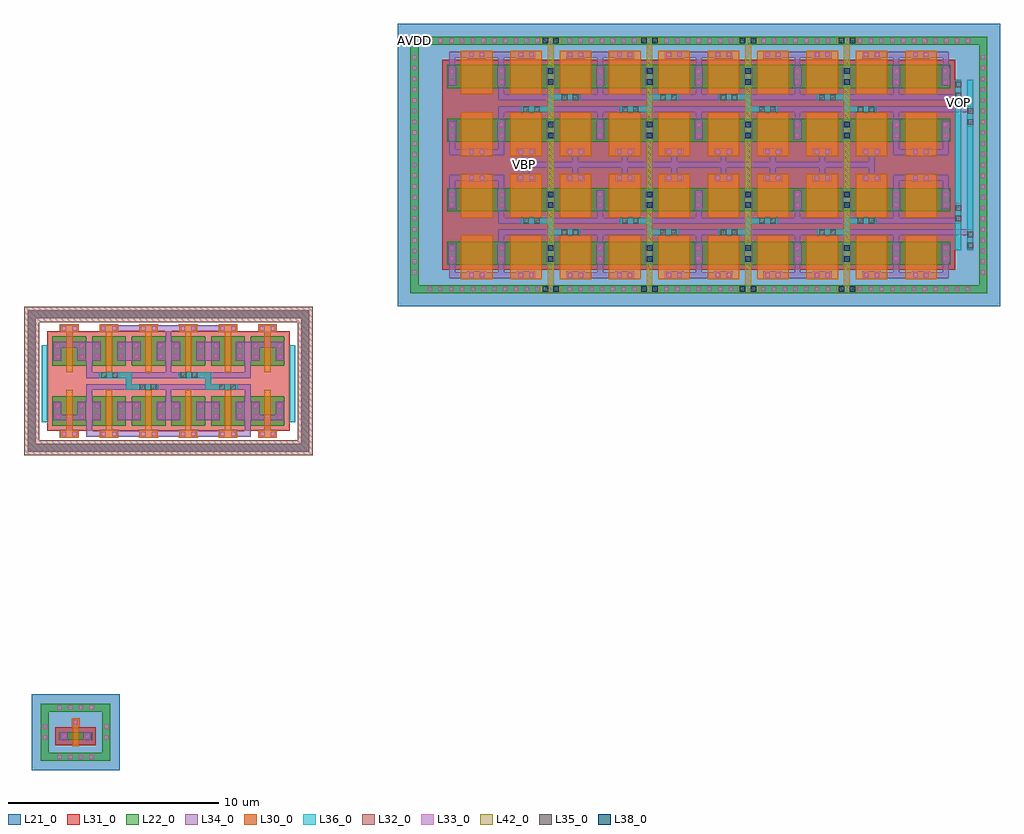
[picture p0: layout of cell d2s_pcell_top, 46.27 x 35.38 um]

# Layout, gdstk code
from math import pi, radians
import gdstk
lib = gdstk.Library(unit=1e-6, precision=5e-09)
def R(c, l, rs):  # rectangles x0, y0, x1, y1
    for r in rs: c.add(gdstk.rectangle(r[:2], r[2:], *l))
def A(c, l, x, y, w, h, nx, ny, dx, dy):  # array of equal rectangles
    R(c, l, [(x+i*dx, y+j*dy, x+i*dx+w, y+j*dy+h) for i in range(nx) for j in range(ny)])
def P(c, l, *ps):  # polygons
    for p in ps: c.add(gdstk.Polygon(p, *l))
L21_0 = (21, 0)
L22_0 = (22, 0)
L30_0 = (30, 0)
L31_0 = (31, 0)
L32_0 = (32, 0)
L33_0 = (33, 0)
L34_0 = (34, 0)
L35_0 = (35, 0)
L36_0 = (36, 0)
L38_0 = (38, 0)
L42_0 = (42, 0)

d2s_pcell_1_1 = lib.new_cell('d2s_pcell_1$1')
R(d2s_pcell_1_1, L22_0, [(0,0.3,0.46,1.7), (0.46,0.3,1.14,1.7), (1.14,0.3,1.6,1.7)])
R(d2s_pcell_1_1, L30_0, [(0.65,0,0.95,2)])
R(d2s_pcell_1_1, L33_0, [(0.12,0.635,0.34,0.855), (1.26,0.635,1.48,0.855), (0.12,1.145,0.34,1.365), (1.26,1.145,1.48,1.365)])
R(d2s_pcell_1_1, L34_0, [(0.04,0.555,0.42,1.445), (1.18,0.555,1.56,1.445)])

d2s_pcell_4 = lib.new_cell('d2s_pcell_4')
A(d2s_pcell_4, L30_0, 0.365, 1.9, 0.87, 0.36, 6, 1, 1.88, 0)
R(d2s_pcell_4, L33_0, [(0.435,1.97,0.655,2.19), (0.945,1.97,1.165,2.19), (2.315,1.97,2.535,2.19), (2.825,1.97,3.045,2.19), (4.195,1.97,4.415,2.19), (4.705,1.97,4.925,2.19), (6.075,1.97,6.295,2.19), (6.585,1.97,6.805,2.19), (7.955,1.97,8.175,2.19), (8.465,1.97,8.685,2.19), (9.835,1.97,10.055,2.19), (10.345,1.97,10.565,2.19)])
A(d2s_pcell_4, L34_0, 1.56, 0.555, 0.36, 0.89, 5, 1, 1.88, 0)
A(d2s_pcell_4, L34_0, 0.355, 1.89, 0.89, 0.38, 6, 1, 1.88, 0)
d2s_pcell_4.add(gdstk.FlexPath([(10.2,1.89),(10.2,1.445)], 0.28, ends="flush", simple_path=True, layer=34, datatype=0))  # L34_0
d2s_pcell_4.add(gdstk.FlexPath([(9.82,1.305),(10.58,1.305)], 0.28, ends="flush", simple_path=True, layer=34, datatype=0))  # L34_0
d2s_pcell_4.add(gdstk.FlexPath([(0.8,1.89),(0.8,1.445)], 0.28, ends="flush", simple_path=True, layer=34, datatype=0))  # L34_0
d2s_pcell_4.add(gdstk.FlexPath([(1.18,1.305),(0.42,1.305)], 0.28, ends="flush", simple_path=True, layer=34, datatype=0))  # L34_0
d2s_pcell_4.add(gdstk.FlexPath([(7.875,2.08),(3.125,2.08)], 0.28, ends="flush", simple_path=True, layer=34, datatype=0))  # L34_0
d2s_pcell_4.add(gdstk.Reference(d2s_pcell_1_1, (1.88,0)))
d2s_pcell_4.add(gdstk.Reference(d2s_pcell_1_1, (3.76,0)))
d2s_pcell_4.add(gdstk.Reference(d2s_pcell_1_1, (5.64,0)))
d2s_pcell_4.add(gdstk.Reference(d2s_pcell_1_1, (7.52,0)))
d2s_pcell_4.add(gdstk.Reference(d2s_pcell_1_1, (9.4,0)))
d2s_pcell_4.add(gdstk.Reference(d2s_pcell_1_1, (1.6,0), rotation=pi, x_reflection=True))

pfet = lib.new_cell('pfet')
R(pfet, L21_0, [(-1.76,-1.43,2.42,2.17)])
R(pfet, L22_0, [(-0.46,-0.01,0,0.37), (0.66,-0.01,1.12,0.37), (0,0,0.66,0.36)])
P(pfet, L22_0, [(-1.32,-0.99),(-1.32,1.35),(-0.94,1.35),(-0.94,-0.61),(1.6,-0.61),(1.6,1.35),(-1.32,1.35),(-1.32,1.73),(1.98,1.73),(1.98,-0.99)])
R(pfet, L30_0, [(0.19,-0.3,0.47,0.66), (0.14,0.66,0.52,1.04)])
R(pfet, L31_0, [(-0.63,-0.24,1.29,0.6)])
A(pfet, L33_0, -0.545, -0.91, 0.22, 0.22, 4, 2, 0.51, 2.34)
R(pfet, L33_0, [(-1.24,0.005,-1.02,0.225), (1.68,0.005,1.9,0.225), (-0.34,0.07,-0.12,0.29), (0.78,0.07,1,0.29), (-1.24,0.515,-1.02,0.735), (1.68,0.515,1.9,0.735), (0.22,0.74,0.44,0.96)])
R(pfet, L34_0, [(-0.42,-0.01,-0.04,0.37), (0.7,-0.01,1.08,0.37), (0.14,0.66,0.52,1.04)])

delay_stage_pcell_1_2_1_ = lib.new_cell('delay_stage_pcell_1$2$1$1')
R(delay_stage_pcell_1_2_1_, L22_0, [(0.17,0.3,0.63,1.4), (0.63,0.3,2.51,1.4), (2.51,0.3,2.97,1.4)])
R(delay_stage_pcell_1_2_1_, L30_0, [(0.82,0,2.32,1.7)])
R(delay_stage_pcell_1_2_1_, L33_0, [(0.29,0.485,0.51,0.705), (2.63,0.485,2.85,0.705), (0.29,0.995,0.51,1.215), (2.63,0.995,2.85,1.215)])
R(delay_stage_pcell_1_2_1_, L34_0, [(0.21,0.405,0.59,1.295), (2.55,0.405,2.93,1.295)])

delay_stage_pcell_4_2_1 = lib.new_cell('delay_stage_pcell_4$2$1')
delay_stage_pcell_4_2_1.add(gdstk.Reference(delay_stage_pcell_1_2_1_, (-0.17,0)))
delay_stage_pcell_4_2_1.add(gdstk.Reference(delay_stage_pcell_1_2_1_, (2.17,0)))
delay_stage_pcell_4_2_1.add(gdstk.Reference(delay_stage_pcell_1_2_1_, (4.51,0)))
delay_stage_pcell_4_2_1.add(gdstk.Reference(delay_stage_pcell_1_2_1_, (6.85,0)))

delay_stage_pcell_4_4_1 = lib.new_cell('delay_stage_pcell_4_4$1')
R(delay_stage_pcell_4_4_1, L30_0, [(0.65,0,2.15,0.38), (0.65,0,2.15,0.38), (2.99,0,4.49,0.38), (2.99,0,4.49,0.38), (5.33,0,6.83,0.38), (5.33,0,6.83,0.38), (7.67,0,9.17,0.38), (7.67,0,9.17,0.38), (0.65,4.62,2.15,5), (0.65,4.62,2.15,5), (2.99,4.62,4.49,5), (2.99,4.62,4.49,5), (5.33,4.62,6.83,5), (5.33,4.62,6.83,5), (7.67,4.62,9.17,5), (7.67,4.62,9.17,5), (0.65,5.84,2.15,6.22), (0.65,5.84,2.15,6.22), (2.99,5.84,4.49,6.22), (2.99,5.84,4.49,6.22), (5.33,5.84,6.83,6.22), (5.33,5.84,6.83,6.22), (7.67,5.84,9.17,6.22), (7.67,5.84,9.17,6.22), (0.65,10.46,2.15,10.84), (0.65,10.46,2.15,10.84), (2.99,10.46,4.49,10.84), (2.99,10.46,4.49,10.84), (5.33,10.46,6.83,10.84), (5.33,10.46,6.83,10.84), (7.67,10.46,9.17,10.84), (7.67,10.46,9.17,10.84)])
R(delay_stage_pcell_4_4_1, L33_0, [(1.035,0.08,1.255,0.3), (1.035,0.08,1.255,0.3), (1.545,0.08,1.765,0.3), (1.545,0.08,1.765,0.3), (3.375,0.08,3.595,0.3), (3.375,0.08,3.595,0.3), (3.885,0.08,4.105,0.3), (3.885,0.08,4.105,0.3), (5.715,0.08,5.935,0.3), (5.715,0.08,5.935,0.3), (6.225,0.08,6.445,0.3), (6.225,0.08,6.445,0.3), (8.055,0.08,8.275,0.3), (8.055,0.08,8.275,0.3), (8.565,0.08,8.785,0.3), (8.565,0.08,8.785,0.3), (1.035,4.7,1.255,4.92), (1.035,4.7,1.255,4.92), (1.545,4.7,1.765,4.92), (1.545,4.7,1.765,4.92), (3.375,4.7,3.595,4.92), (3.375,4.7,3.595,4.92), (3.885,4.7,4.105,4.92), (3.885,4.7,4.105,4.92), (5.715,4.7,5.935,4.92), (5.715,4.7,5.935,4.92), (6.225,4.7,6.445,4.92), (6.225,4.7,6.445,4.92), (8.055,4.7,8.275,4.92), (8.055,4.7,8.275,4.92), (8.565,4.7,8.785,4.92), (8.565,4.7,8.785,4.92), (1.035,5.92,1.255,6.14), (1.035,5.92,1.255,6.14), (1.545,5.92,1.765,6.14), (1.545,5.92,1.765,6.14), (3.375,5.92,3.595,6.14), (3.375,5.92,3.595,6.14), (3.885,5.92,4.105,6.14), (3.885,5.92,4.105,6.14), (5.715,5.92,5.935,6.14), (5.715,5.92,5.935,6.14), (6.225,5.92,6.445,6.14), (6.225,5.92,6.445,6.14), (8.055,5.92,8.275,6.14), (8.055,5.92,8.275,6.14), (8.565,5.92,8.785,6.14), (8.565,5.92,8.785,6.14), (1.035,10.54,1.255,10.76), (1.035,10.54,1.255,10.76), (1.545,10.54,1.765,10.76), (1.545,10.54,1.765,10.76), (3.375,10.54,3.595,10.76), (3.375,10.54,3.595,10.76), (3.885,10.54,4.105,10.76), (3.885,10.54,4.105,10.76), (5.715,10.54,5.935,10.76), (5.715,10.54,5.935,10.76), (6.225,10.54,6.445,10.76), (6.225,10.54,6.445,10.76), (8.055,10.54,8.275,10.76), (8.055,10.54,8.275,10.76), (8.565,10.54,8.785,10.76), (8.565,10.54,8.785,10.76)])
R(delay_stage_pcell_4_4_1, L34_0, [(0.955,0,1.845,0.38), (3.295,0,4.185,0.38), (3.295,0,4.185,0.38), (5.635,0,6.525,0.38), (5.635,0,6.525,0.38), (7.975,0,8.865,0.38), (0.955,4.62,1.845,5), (0.955,4.62,1.845,5), (3.295,4.62,4.185,5), (3.295,4.62,4.185,5), (5.635,4.62,6.525,5), (5.635,4.62,6.525,5), (7.975,4.62,8.865,5), (0.955,5.84,1.845,6.22), (0.955,5.84,1.845,6.22), (3.295,5.84,4.185,6.22), (3.295,5.84,4.185,6.22), (5.635,5.84,6.525,6.22), (5.635,5.84,6.525,6.22), (7.975,5.84,8.865,6.22), (7.975,5.84,8.865,6.22), (0.955,10.46,1.845,10.84), (3.295,10.46,4.185,10.84), (3.295,10.46,4.185,10.84), (5.635,10.46,6.525,10.84), (5.635,10.46,6.525,10.84), (7.975,10.46,8.865,10.84)])
R(delay_stage_pcell_4_4_1, L35_0, [(2.44,0.84,2.7,1.1), (7.12,0.84,7.38,1.1), (2.44,1.36,2.7,1.62), (7.12,1.36,7.38,1.62), (1.27,2.09,1.53,2.35), (1.27,2.09,1.53,2.35), (1.79,2.09,2.05,2.35), (1.79,2.09,2.05,2.35), (5.95,2.09,6.21,2.35), (5.95,2.09,6.21,2.35), (6.47,2.09,6.73,2.35), (6.47,2.09,6.73,2.35), (3.09,2.65,3.35,2.91), (3.09,2.65,3.35,2.91), (3.61,2.65,3.87,2.91), (3.61,2.65,3.87,2.91), (7.77,2.65,8.03,2.91), (7.77,2.65,8.03,2.91), (8.29,2.65,8.55,2.91), (8.29,2.65,8.55,2.91), (2.44,3.38,2.7,3.64), (7.12,3.38,7.38,3.64), (2.44,3.9,2.7,4.16), (7.12,3.9,7.38,4.16), (2.44,6.68,2.7,6.94), (7.12,6.68,7.38,6.94), (2.44,7.2,2.7,7.46), (7.12,7.2,7.38,7.46), (3.09,7.93,3.35,8.19), (3.09,7.93,3.35,8.19), (3.61,7.93,3.87,8.19), (3.61,7.93,3.87,8.19), (7.77,7.93,8.03,8.19), (7.77,7.93,8.03,8.19), (8.29,7.93,8.55,8.19), (8.29,7.93,8.55,8.19), (1.27,8.49,1.53,8.75), (1.27,8.49,1.53,8.75), (1.79,8.49,2.05,8.75), (1.79,8.49,2.05,8.75), (5.95,8.49,6.21,8.75), (5.95,8.49,6.21,8.75), (6.47,8.49,6.73,8.75), (6.47,8.49,6.73,8.75), (2.44,9.22,2.7,9.48), (7.12,9.22,7.38,9.48), (2.44,9.74,2.7,10), (7.12,9.74,7.38,10)])
R(delay_stage_pcell_4_4_1, L38_0, [(2.44,0.84,2.7,1.1), (7.12,0.84,7.38,1.1), (2.44,1.36,2.7,1.62), (7.12,1.36,7.38,1.62), (2.44,3.38,2.7,3.64), (7.12,3.38,7.38,3.64), (2.44,3.9,2.7,4.16), (7.12,3.9,7.38,4.16), (2.44,6.68,2.7,6.94), (7.12,6.68,7.38,6.94), (2.44,7.2,2.7,7.46), (7.12,7.2,7.38,7.46), (2.44,9.22,2.7,9.48), (7.12,9.22,7.38,9.48), (2.44,9.74,2.7,10), (7.12,9.74,7.38,10)])
delay_stage_pcell_4_4_1.add(gdstk.FlexPath([(8.56,5.42),(0.23,5.42)], 0.28, ends="flush", simple_path=True, layer=34, datatype=0))  # L34_0
delay_stage_pcell_4_4_1.add(gdstk.FlexPath([(4.185,10.65),(5.635,10.65)], 0.28, ends="flush", simple_path=True, layer=34, datatype=0))  # L34_0
delay_stage_pcell_4_4_1.add(gdstk.FlexPath([(4.91,10.055),(4.91,10.51)], 0.28, ends="flush", simple_path=True, layer=34, datatype=0))  # L34_0
delay_stage_pcell_4_4_1.add(gdstk.FlexPath([(0.955,10.65),(0.23,10.65),(0.23,10.055)], 0.28, ends="flush", simple_path=True, layer=34, datatype=0))  # L34_0
delay_stage_pcell_4_4_1.add(gdstk.FlexPath([(8.865,10.65),(9.59,10.65),(9.59,10.055)], 0.28, ends="flush", simple_path=True, layer=34, datatype=0))  # L34_0
delay_stage_pcell_4_4_1.add(gdstk.FlexPath([(4.185,0.19),(5.635,0.19)], 0.28, ends="flush", simple_path=True, layer=34, datatype=0))  # L34_0
delay_stage_pcell_4_4_1.add(gdstk.FlexPath([(4.91,0.785),(4.91,0.33)], 0.28, ends="flush", simple_path=True, layer=34, datatype=0))  # L34_0
delay_stage_pcell_4_4_1.add(gdstk.FlexPath([(0.955,0.19),(0.23,0.19),(0.23,0.785)], 0.28, ends="flush", simple_path=True, layer=34, datatype=0))  # L34_0
delay_stage_pcell_4_4_1.add(gdstk.FlexPath([(8.865,0.19),(9.59,0.19),(9.59,0.785)], 0.28, ends="flush", simple_path=True, layer=34, datatype=0))  # L34_0
delay_stage_pcell_4_4_1.add(gdstk.FlexPath([(9.59,1.675),(9.59,2.22),(8.65,2.22)], 0.28, ends="flush", simple_path=True, layer=34, datatype=0))  # L34_0
delay_stage_pcell_4_4_1.add(gdstk.FlexPath([(9.59,1.675),(9.59,2.22),(8.65,2.22)], 0.28, ends="flush", simple_path=True, layer=34, datatype=0))  # L34_0
delay_stage_pcell_4_4_1.add(gdstk.FlexPath([(4.91,1.675),(4.91,2.08)], 0.28, ends="flush", simple_path=True, layer=34, datatype=0))  # L34_0
delay_stage_pcell_4_4_1.add(gdstk.FlexPath([(4.91,1.675),(4.91,2.08)], 0.28, ends="flush", simple_path=True, layer=34, datatype=0))  # L34_0
delay_stage_pcell_4_4_1.add(gdstk.FlexPath([(0.23,1.675),(0.23,2.22),(1.17,2.22)], 0.28, ends="flush", simple_path=True, layer=34, datatype=0))  # L34_0
delay_stage_pcell_4_4_1.add(gdstk.FlexPath([(0.23,1.675),(0.23,2.22),(1.17,2.22)], 0.28, ends="flush", simple_path=True, layer=34, datatype=0))  # L34_0
delay_stage_pcell_4_4_1.add(gdstk.FlexPath([(8.65,2.22),(7.25,2.22),(7.25,2.78),(5.85,2.78)], 0.28, ends="flush", simple_path=True, layer=34, datatype=0))  # L34_0
delay_stage_pcell_4_4_1.add(gdstk.FlexPath([(8.65,2.22),(7.25,2.22),(7.25,2.78),(5.85,2.78)], 0.28, ends="flush", simple_path=True, layer=34, datatype=0))  # L34_0
delay_stage_pcell_4_4_1.add(gdstk.FlexPath([(6.83,2.22),(5.85,2.22)], 0.28, ends="flush", simple_path=True, layer=34, datatype=0))  # L34_0
delay_stage_pcell_4_4_1.add(gdstk.FlexPath([(6.83,2.22),(5.85,2.22)], 0.28, ends="flush", simple_path=True, layer=34, datatype=0))  # L34_0
delay_stage_pcell_4_4_1.add(gdstk.FlexPath([(3.97,2.22),(5.85,2.22)], 0.28, ends="flush", simple_path=True, layer=34, datatype=0))  # L34_0
delay_stage_pcell_4_4_1.add(gdstk.FlexPath([(3.97,2.22),(5.85,2.22)], 0.28, ends="flush", simple_path=True, layer=34, datatype=0))  # L34_0
delay_stage_pcell_4_4_1.add(gdstk.FlexPath([(3.97,2.22),(2.57,2.22),(2.57,2.78),(1.17,2.78)], 0.28, ends="flush", simple_path=True, layer=34, datatype=0))  # L34_0
delay_stage_pcell_4_4_1.add(gdstk.FlexPath([(3.97,2.22),(2.57,2.22),(2.57,2.78),(1.17,2.78)], 0.28, ends="flush", simple_path=True, layer=34, datatype=0))  # L34_0
delay_stage_pcell_4_4_1.add(gdstk.FlexPath([(2.15,2.22),(1.17,2.22)], 0.28, ends="flush", simple_path=True, layer=34, datatype=0))  # L34_0
delay_stage_pcell_4_4_1.add(gdstk.FlexPath([(2.15,2.22),(1.17,2.22)], 0.28, ends="flush", simple_path=True, layer=34, datatype=0))  # L34_0
delay_stage_pcell_4_4_1.add(gdstk.FlexPath([(8.65,2.78),(7.67,2.78)], 0.28, ends="flush", simple_path=True, layer=34, datatype=0))  # L34_0
delay_stage_pcell_4_4_1.add(gdstk.FlexPath([(8.65,2.78),(7.67,2.78)], 0.28, ends="flush", simple_path=True, layer=34, datatype=0))  # L34_0
delay_stage_pcell_4_4_1.add(gdstk.FlexPath([(3.97,2.78),(5.85,2.78)], 0.28, ends="flush", simple_path=True, layer=34, datatype=0))  # L34_0
delay_stage_pcell_4_4_1.add(gdstk.FlexPath([(3.97,2.78),(5.85,2.78)], 0.28, ends="flush", simple_path=True, layer=34, datatype=0))  # L34_0
delay_stage_pcell_4_4_1.add(gdstk.FlexPath([(3.97,2.78),(2.99,2.78)], 0.28, ends="flush", simple_path=True, layer=34, datatype=0))  # L34_0
delay_stage_pcell_4_4_1.add(gdstk.FlexPath([(3.97,2.78),(2.99,2.78)], 0.28, ends="flush", simple_path=True, layer=34, datatype=0))  # L34_0
delay_stage_pcell_4_4_1.add(gdstk.FlexPath([(1.17,2.78),(0.23,2.78),(0.23,3.325)], 0.28, ends="flush", simple_path=True, layer=34, datatype=0))  # L34_0
delay_stage_pcell_4_4_1.add(gdstk.FlexPath([(1.17,2.78),(0.23,2.78),(0.23,3.325)], 0.28, ends="flush", simple_path=True, layer=34, datatype=0))  # L34_0
delay_stage_pcell_4_4_1.add(gdstk.FlexPath([(9.59,3.325),(9.59,2.78),(8.65,2.78)], 0.28, ends="flush", simple_path=True, layer=34, datatype=0))  # L34_0
delay_stage_pcell_4_4_1.add(gdstk.FlexPath([(9.59,3.325),(9.59,2.78),(8.65,2.78)], 0.28, ends="flush", simple_path=True, layer=34, datatype=0))  # L34_0
delay_stage_pcell_4_4_1.add(gdstk.FlexPath([(4.91,3.325),(4.91,2.92)], 0.28, ends="flush", simple_path=True, layer=34, datatype=0))  # L34_0
delay_stage_pcell_4_4_1.add(gdstk.FlexPath([(4.91,3.325),(4.91,2.92)], 0.28, ends="flush", simple_path=True, layer=34, datatype=0))  # L34_0
delay_stage_pcell_4_4_1.add(gdstk.FlexPath([(9.59,7.515),(9.59,8.06),(8.65,8.06)], 0.28, ends="flush", simple_path=True, layer=34, datatype=0))  # L34_0
delay_stage_pcell_4_4_1.add(gdstk.FlexPath([(9.59,9.165),(9.59,8.62),(8.65,8.62)], 0.28, ends="flush", simple_path=True, layer=34, datatype=0))  # L34_0
delay_stage_pcell_4_4_1.add(gdstk.FlexPath([(4.91,9.165),(4.91,8.76)], 0.28, ends="flush", simple_path=True, layer=34, datatype=0))  # L34_0
delay_stage_pcell_4_4_1.add(gdstk.FlexPath([(4.91,7.515),(4.91,7.92)], 0.28, ends="flush", simple_path=True, layer=34, datatype=0))  # L34_0
delay_stage_pcell_4_4_1.add(gdstk.FlexPath([(1.17,8.06),(0.23,8.06),(0.23,7.515)], 0.28, ends="flush", simple_path=True, layer=34, datatype=0))  # L34_0
delay_stage_pcell_4_4_1.add(gdstk.FlexPath([(0.23,9.165),(0.23,8.62),(1.17,8.62)], 0.28, ends="flush", simple_path=True, layer=34, datatype=0))  # L34_0
delay_stage_pcell_4_4_1.add(gdstk.FlexPath([(8.65,8.62),(7.25,8.62),(7.25,8.06),(5.85,8.06)], 0.28, ends="flush", simple_path=True, layer=34, datatype=0))  # L34_0
delay_stage_pcell_4_4_1.add(gdstk.FlexPath([(3.97,8.62),(2.57,8.62),(2.57,8.06),(1.17,8.06)], 0.28, ends="flush", simple_path=True, layer=34, datatype=0))  # L34_0
delay_stage_pcell_4_4_1.add(gdstk.FlexPath([(2.15,8.62),(1.17,8.62)], 0.28, ends="flush", simple_path=True, layer=34, datatype=0))  # L34_0
delay_stage_pcell_4_4_1.add(gdstk.FlexPath([(3.97,8.06),(2.99,8.06)], 0.28, ends="flush", simple_path=True, layer=34, datatype=0))  # L34_0
delay_stage_pcell_4_4_1.add(gdstk.FlexPath([(8.65,8.06),(7.67,8.06)], 0.28, ends="flush", simple_path=True, layer=34, datatype=0))  # L34_0
delay_stage_pcell_4_4_1.add(gdstk.FlexPath([(6.83,8.62),(5.85,8.62)], 0.28, ends="flush", simple_path=True, layer=34, datatype=0))  # L34_0
delay_stage_pcell_4_4_1.add(gdstk.FlexPath([(3.97,8.62),(5.85,8.62)], 0.28, ends="flush", simple_path=True, layer=34, datatype=0))  # L34_0
delay_stage_pcell_4_4_1.add(gdstk.FlexPath([(3.97,8.06),(5.85,8.06)], 0.28, ends="flush", simple_path=True, layer=34, datatype=0))  # L34_0
delay_stage_pcell_4_4_1.add(gdstk.FlexPath([(3.97,8.06),(5.85,8.06)], 0.28, ends="flush", simple_path=True, layer=34, datatype=0))  # L34_0
delay_stage_pcell_4_4_1.add(gdstk.FlexPath([(3.97,8.62),(5.85,8.62)], 0.28, ends="flush", simple_path=True, layer=34, datatype=0))  # L34_0
delay_stage_pcell_4_4_1.add(gdstk.FlexPath([(6.83,8.62),(5.85,8.62)], 0.28, ends="flush", simple_path=True, layer=34, datatype=0))  # L34_0
delay_stage_pcell_4_4_1.add(gdstk.FlexPath([(8.65,8.06),(7.67,8.06)], 0.28, ends="flush", simple_path=True, layer=34, datatype=0))  # L34_0
delay_stage_pcell_4_4_1.add(gdstk.FlexPath([(3.97,8.06),(2.99,8.06)], 0.28, ends="flush", simple_path=True, layer=34, datatype=0))  # L34_0
delay_stage_pcell_4_4_1.add(gdstk.FlexPath([(2.15,8.62),(1.17,8.62)], 0.28, ends="flush", simple_path=True, layer=34, datatype=0))  # L34_0
delay_stage_pcell_4_4_1.add(gdstk.FlexPath([(3.97,8.62),(2.57,8.62),(2.57,8.06),(1.17,8.06)], 0.28, ends="flush", simple_path=True, layer=34, datatype=0))  # L34_0
delay_stage_pcell_4_4_1.add(gdstk.FlexPath([(8.65,8.62),(7.25,8.62),(7.25,8.06),(5.85,8.06)], 0.28, ends="flush", simple_path=True, layer=34, datatype=0))  # L34_0
delay_stage_pcell_4_4_1.add(gdstk.FlexPath([(0.23,9.165),(0.23,8.62),(1.17,8.62)], 0.28, ends="flush", simple_path=True, layer=34, datatype=0))  # L34_0
delay_stage_pcell_4_4_1.add(gdstk.FlexPath([(1.17,8.06),(0.23,8.06),(0.23,7.515)], 0.28, ends="flush", simple_path=True, layer=34, datatype=0))  # L34_0
delay_stage_pcell_4_4_1.add(gdstk.FlexPath([(4.91,7.515),(4.91,7.92)], 0.28, ends="flush", simple_path=True, layer=34, datatype=0))  # L34_0
delay_stage_pcell_4_4_1.add(gdstk.FlexPath([(4.91,9.165),(4.91,8.76)], 0.28, ends="flush", simple_path=True, layer=34, datatype=0))  # L34_0
delay_stage_pcell_4_4_1.add(gdstk.FlexPath([(9.59,9.165),(9.59,8.62),(8.65,8.62)], 0.28, ends="flush", simple_path=True, layer=34, datatype=0))  # L34_0
delay_stage_pcell_4_4_1.add(gdstk.FlexPath([(9.59,7.515),(9.59,8.06),(8.65,8.06)], 0.28, ends="flush", simple_path=True, layer=34, datatype=0))  # L34_0
delay_stage_pcell_4_4_1.add(gdstk.FlexPath([(8.42,5),(8.42,5.28)], 0.28, ends="flush", simple_path=True, layer=34, datatype=0))  # L34_0
delay_stage_pcell_4_4_1.add(gdstk.FlexPath([(8.42,5.84),(8.42,5.56)], 0.28, ends="flush", simple_path=True, layer=34, datatype=0))  # L34_0
delay_stage_pcell_4_4_1.add(gdstk.FlexPath([(6.08,5),(6.08,5.28)], 0.28, ends="flush", simple_path=True, layer=34, datatype=0))  # L34_0
delay_stage_pcell_4_4_1.add(gdstk.FlexPath([(6.08,5.84),(6.08,5.56)], 0.28, ends="flush", simple_path=True, layer=34, datatype=0))  # L34_0
delay_stage_pcell_4_4_1.add(gdstk.FlexPath([(3.74,5),(3.74,5.28)], 0.28, ends="flush", simple_path=True, layer=34, datatype=0))  # L34_0
delay_stage_pcell_4_4_1.add(gdstk.FlexPath([(3.74,5.84),(3.74,5.56)], 0.28, ends="flush", simple_path=True, layer=34, datatype=0))  # L34_0
delay_stage_pcell_4_4_1.add(gdstk.FlexPath([(1.4,5),(1.4,5.28)], 0.28, ends="flush", simple_path=True, layer=34, datatype=0))  # L34_0
delay_stage_pcell_4_4_1.add(gdstk.FlexPath([(1.4,5.84),(1.4,5.56)], 0.28, ends="flush", simple_path=True, layer=34, datatype=0))  # L34_0
delay_stage_pcell_4_4_1.add(gdstk.FlexPath([(8.65,2.78),(7.25,2.78),(7.25,2.22),(5.85,2.22)], 0.28, ends="flush", simple_path=True, layer=36, datatype=0))  # L36_0
delay_stage_pcell_4_4_1.add(gdstk.FlexPath([(8.65,2.78),(7.25,2.78),(7.25,2.22),(5.85,2.22)], 0.28, ends="flush", simple_path=True, layer=36, datatype=0))  # L36_0
delay_stage_pcell_4_4_1.add(gdstk.FlexPath([(3.97,2.78),(2.57,2.78),(2.57,2.22),(1.17,2.22)], 0.28, ends="flush", simple_path=True, layer=36, datatype=0))  # L36_0
delay_stage_pcell_4_4_1.add(gdstk.FlexPath([(3.97,2.78),(2.57,2.78),(2.57,2.22),(1.17,2.22)], 0.28, ends="flush", simple_path=True, layer=36, datatype=0))  # L36_0
delay_stage_pcell_4_4_1.add(gdstk.FlexPath([(3.97,8.06),(2.57,8.06),(2.57,8.62),(1.17,8.62)], 0.28, ends="flush", simple_path=True, layer=36, datatype=0))  # L36_0
delay_stage_pcell_4_4_1.add(gdstk.FlexPath([(8.65,8.06),(7.25,8.06),(7.25,8.62),(5.85,8.62)], 0.28, ends="flush", simple_path=True, layer=36, datatype=0))  # L36_0
delay_stage_pcell_4_4_1.add(gdstk.FlexPath([(8.65,8.06),(7.25,8.06),(7.25,8.62),(5.85,8.62)], 0.28, ends="flush", simple_path=True, layer=36, datatype=0))  # L36_0
delay_stage_pcell_4_4_1.add(gdstk.FlexPath([(3.97,8.06),(2.57,8.06),(2.57,8.62),(1.17,8.62)], 0.28, ends="flush", simple_path=True, layer=36, datatype=0))  # L36_0
delay_stage_pcell_4_4_1.add(gdstk.FlexPath([(7.25,6.58),(7.25,7.56)], 0.28, ends="flush", simple_path=True, layer=36, datatype=0))  # L36_0
delay_stage_pcell_4_4_1.add(gdstk.FlexPath([(7.25,9.12),(7.25,10.1)], 0.28, ends="flush", simple_path=True, layer=36, datatype=0))  # L36_0
delay_stage_pcell_4_4_1.add(gdstk.FlexPath([(2.57,6.58),(2.57,7.56)], 0.28, ends="flush", simple_path=True, layer=36, datatype=0))  # L36_0
delay_stage_pcell_4_4_1.add(gdstk.FlexPath([(7.25,3.28),(7.25,4.26)], 0.28, ends="flush", simple_path=True, layer=36, datatype=0))  # L36_0
delay_stage_pcell_4_4_1.add(gdstk.FlexPath([(2.57,3.28),(2.57,4.26)], 0.28, ends="flush", simple_path=True, layer=36, datatype=0))  # L36_0
delay_stage_pcell_4_4_1.add(gdstk.FlexPath([(7.25,0.74),(7.25,1.72)], 0.28, ends="flush", simple_path=True, layer=36, datatype=0))  # L36_0
delay_stage_pcell_4_4_1.add(gdstk.FlexPath([(2.57,0.74),(2.57,1.72)], 0.28, ends="flush", simple_path=True, layer=36, datatype=0))  # L36_0
delay_stage_pcell_4_4_1.add(gdstk.FlexPath([(2.57,9.12),(2.57,10.1)], 0.28, ends="flush", simple_path=True, layer=36, datatype=0))  # L36_0
delay_stage_pcell_4_4_1.add(gdstk.FlexPath([(7.25,6.58),(7.25,7.56)], 0.28, ends="flush", simple_path=True, layer=42, datatype=0))  # L42_0
delay_stage_pcell_4_4_1.add(gdstk.FlexPath([(7.25,9.12),(7.25,10.1)], 0.28, ends="flush", simple_path=True, layer=42, datatype=0))  # L42_0
delay_stage_pcell_4_4_1.add(gdstk.FlexPath([(2.57,6.58),(2.57,7.56)], 0.28, ends="flush", simple_path=True, layer=42, datatype=0))  # L42_0
delay_stage_pcell_4_4_1.add(gdstk.FlexPath([(7.25,3.28),(7.25,4.26)], 0.28, ends="flush", simple_path=True, layer=42, datatype=0))  # L42_0
delay_stage_pcell_4_4_1.add(gdstk.FlexPath([(2.57,3.28),(2.57,4.26)], 0.28, ends="flush", simple_path=True, layer=42, datatype=0))  # L42_0
delay_stage_pcell_4_4_1.add(gdstk.FlexPath([(7.25,0.74),(7.25,1.72)], 0.28, ends="flush", simple_path=True, layer=42, datatype=0))  # L42_0
delay_stage_pcell_4_4_1.add(gdstk.FlexPath([(2.57,0.74),(2.57,1.72)], 0.28, ends="flush", simple_path=True, layer=42, datatype=0))  # L42_0
delay_stage_pcell_4_4_1.add(gdstk.FlexPath([(2.57,9.12),(2.57,10.1)], 0.28, ends="flush", simple_path=True, layer=42, datatype=0))  # L42_0
delay_stage_pcell_4_4_1.add(gdstk.Reference(delay_stage_pcell_4_2_1, (9.82,7.92), rotation=pi))
delay_stage_pcell_4_4_1.add(gdstk.Reference(delay_stage_pcell_4_2_1, (9.82,2.08), rotation=pi))
delay_stage_pcell_4_4_1.add(gdstk.Reference(delay_stage_pcell_4_2_1, (9.82,8.76), rotation=pi, x_reflection=True))
delay_stage_pcell_4_4_1.add(gdstk.Reference(delay_stage_pcell_4_2_1, (9.82,2.92), rotation=pi, x_reflection=True))

delay_stage_pcell_1_1_1 = lib.new_cell('delay_stage_pcell_1$1$1')
R(delay_stage_pcell_1_1_1, L22_0, [(0.17,0.3,0.63,1.4), (0.63,0.3,2.51,1.4), (2.51,0.3,2.97,1.4)])
R(delay_stage_pcell_1_1_1, L30_0, [(0.82,0,2.32,1.7)])
R(delay_stage_pcell_1_1_1, L33_0, [(0.29,0.485,0.51,0.705), (2.63,0.485,2.85,0.705), (0.29,0.995,0.51,1.215), (2.63,0.995,2.85,1.215)])
R(delay_stage_pcell_1_1_1, L34_0, [(0.21,0.405,0.59,1.295), (2.55,0.405,2.93,1.295)])

delay_stage_pcell_1_4_1 = lib.new_cell('delay_stage_pcell_1_4$1')
R(delay_stage_pcell_1_4_1, L30_0, [(0.65,0,2.15,0.38), (0.65,4.62,2.15,5), (0.65,5.84,2.15,6.22), (0.65,10.46,2.15,10.84)])
R(delay_stage_pcell_1_4_1, L33_0, [(1.035,0.08,1.255,0.3), (1.545,0.08,1.765,0.3), (1.035,4.7,1.255,4.92), (1.545,4.7,1.765,4.92), (1.035,5.92,1.255,6.14), (1.545,5.92,1.765,6.14), (1.035,10.54,1.255,10.76), (1.545,10.54,1.765,10.76)])
R(delay_stage_pcell_1_4_1, L34_0, [(0.955,0,1.845,0.38), (0.955,4.62,1.845,5), (0.955,5.84,1.845,6.22), (0.955,10.46,1.845,10.84)])
delay_stage_pcell_1_4_1.add(gdstk.FlexPath([(2.57,10.055),(2.57,10.65),(0.23,10.65),(0.23,10.055)], 0.28, ends="flush", simple_path=True, layer=34, datatype=0))  # L34_0
delay_stage_pcell_1_4_1.add(gdstk.FlexPath([(2.57,0.785),(2.57,0.19),(0.23,0.19),(0.23,0.785)], 0.28, ends="flush", simple_path=True, layer=34, datatype=0))  # L34_0
delay_stage_pcell_1_4_1.add(gdstk.FlexPath([(2.57,6.625),(2.57,6.03),(0.23,6.03),(0.23,6.625)], 0.28, ends="flush", simple_path=True, layer=34, datatype=0))  # L34_0
delay_stage_pcell_1_4_1.add(gdstk.FlexPath([(2.57,4.215),(2.57,4.81),(0.23,4.81),(0.23,4.215)], 0.28, ends="flush", simple_path=True, layer=34, datatype=0))  # L34_0
delay_stage_pcell_1_4_1.add(gdstk.Reference(delay_stage_pcell_1_1_1, (-0.17,6.22)))
delay_stage_pcell_1_4_1.add(gdstk.Reference(delay_stage_pcell_1_1_1, (-0.17,0.38)))
delay_stage_pcell_1_4_1.add(gdstk.Reference(delay_stage_pcell_1_1_1, (-0.17,2.92)))
delay_stage_pcell_1_4_1.add(gdstk.Reference(delay_stage_pcell_1_1_1, (-0.17,8.76)))

d2s_pcell_top = lib.new_cell('d2s_pcell_top')
R(d2s_pcell_top, L21_0, [(16.885,8.585,45.45,21.965)])
R(d2s_pcell_top, L31_0, [(0.285,2.665,11.765,7.385), (19,10.295,43.34,20.26)])
A(d2s_pcell_top, L33_0, 18.31, 9.275, 0.22, 0.22, 51, 2, 0.51, 11.78)
A(d2s_pcell_top, L33_0, 17.58, 10.065, 0.22, 0.22, 1, 21, 0, 0.51)
A(d2s_pcell_top, L33_0, 44.54, 10.065, 0.22, 0.22, 1, 21, 0, 0.51)
R(d2s_pcell_top, L35_0, [(4.665,4.615,4.925,4.875), (5.185,4.615,5.445,4.875), (8.425,4.615,8.685,4.875), (8.945,4.615,9.205,4.875), (2.845,5.175,3.105,5.435), (3.365,5.175,3.625,5.435), (6.605,5.175,6.865,5.435), (7.125,5.175,7.385,5.435), (23.76,9.255,24.02,9.515), (24.28,9.255,24.54,9.515), (28.44,9.255,28.7,9.515), (28.96,9.255,29.22,9.515), (33.12,9.255,33.38,9.515), (33.64,9.255,33.9,9.515), (37.8,9.255,38.06,9.515), (38.32,9.255,38.58,9.515), (43.91,11.335,44.17,11.595), (43.91,11.335,44.17,11.595), (43.91,11.855,44.17,12.115), (43.91,11.855,44.17,12.115), (43.35,12.595,43.61,12.855), (43.35,12.595,43.61,12.855), (43.35,13.115,43.61,13.375), (43.35,13.115,43.61,13.375), (43.91,17.175,44.17,17.435), (43.91,17.175,44.17,17.435), (43.91,17.695,44.17,17.955), (43.91,17.695,44.17,17.955), (43.35,18.435,43.61,18.695), (43.35,18.435,43.61,18.695), (43.35,18.955,43.61,19.215), (43.35,18.955,43.61,19.215), (23.76,21.035,24.02,21.295), (24.28,21.035,24.54,21.295), (28.44,21.035,28.7,21.295), (28.96,21.035,29.22,21.295), (33.12,21.035,33.38,21.295), (33.64,21.035,33.9,21.295), (37.8,21.035,38.06,21.295), (38.32,21.035,38.58,21.295)])
R(d2s_pcell_top, L38_0, [(23.76,9.255,24.02,9.515), (24.28,9.255,24.54,9.515), (28.44,9.255,28.7,9.515), (28.96,9.255,29.22,9.515), (33.12,9.255,33.38,9.515), (33.64,9.255,33.9,9.515), (37.8,9.255,38.06,9.515), (38.32,9.255,38.58,9.515), (23.76,21.035,24.02,21.295), (24.28,21.035,24.54,21.295), (28.44,21.035,28.7,21.295), (28.96,21.035,29.22,21.295), (33.12,21.035,33.38,21.295), (33.64,21.035,33.9,21.295), (37.8,21.035,38.06,21.295), (38.32,21.035,38.58,21.295)])
d2s_pcell_top.add(gdstk.FlexPath([(12.515,8.375),(12.515,1.865),(-0.465,1.865),(-0.465,8.185),(12.325,8.185)], 0.38, ends="flush", simple_path=True, layer=34, datatype=0))  # L34_0
d2s_pcell_top.add(gdstk.FlexPath([(40.67,12.635),(43.62,12.635)], 0.28, ends="flush", simple_path=True, layer=34, datatype=0))  # L34_0
d2s_pcell_top.add(gdstk.FlexPath([(40.67,12.075),(44.18,12.075)], 0.28, ends="flush", simple_path=True, layer=34, datatype=0))  # L34_0
d2s_pcell_top.add(gdstk.FlexPath([(44.04,11.235),(44.04,12.215)], 0.28, ends="flush", simple_path=True, layer=34, datatype=0))  # L34_0
d2s_pcell_top.add(gdstk.FlexPath([(44.04,11.235),(44.04,12.215)], 0.28, ends="flush", simple_path=True, layer=34, datatype=0))  # L34_0
d2s_pcell_top.add(gdstk.FlexPath([(43.48,12.495),(43.48,13.475)], 0.28, ends="flush", simple_path=True, layer=34, datatype=0))  # L34_0
d2s_pcell_top.add(gdstk.FlexPath([(43.48,12.495),(43.48,13.475)], 0.28, ends="flush", simple_path=True, layer=34, datatype=0))  # L34_0
d2s_pcell_top.add(gdstk.FlexPath([(40.67,18.475),(43.62,18.475)], 0.28, ends="flush", simple_path=True, layer=34, datatype=0))  # L34_0
d2s_pcell_top.add(gdstk.FlexPath([(40.67,17.915),(44.18,17.915)], 0.28, ends="flush", simple_path=True, layer=34, datatype=0))  # L34_0
d2s_pcell_top.add(gdstk.FlexPath([(43.48,19.315),(43.48,18.335)], 0.28, ends="flush", simple_path=True, layer=34, datatype=0))  # L34_0
d2s_pcell_top.add(gdstk.FlexPath([(43.48,19.315),(43.48,18.335)], 0.28, ends="flush", simple_path=True, layer=34, datatype=0))  # L34_0
d2s_pcell_top.add(gdstk.FlexPath([(44.04,18.055),(44.04,17.075)], 0.28, ends="flush", simple_path=True, layer=34, datatype=0))  # L34_0
d2s_pcell_top.add(gdstk.FlexPath([(44.04,18.055),(44.04,17.075)], 0.28, ends="flush", simple_path=True, layer=34, datatype=0))  # L34_0
d2s_pcell_top.add(gdstk.FlexPath([(6.025,6.89),(6.025,7.385)], 0.28, ends="flush", simple_path=True, layer=34, datatype=0))  # L34_0
d2s_pcell_top.add(gdstk.FlexPath([(9.29,2.525),(9.785,2.525),(9.785,3.16)], 0.28, ends="flush", simple_path=True, layer=34, datatype=0))  # L34_0
d2s_pcell_top.add(gdstk.FlexPath([(2.76,2.525),(2.265,2.525),(2.265,3.16)], 0.28, ends="flush", simple_path=True, layer=34, datatype=0))  # L34_0
d2s_pcell_top.add(gdstk.FlexPath([(9.785,6),(9.785,5.445)], 0.28, ends="flush", simple_path=True, layer=34, datatype=0))  # L34_0
d2s_pcell_top.add(gdstk.FlexPath([(6.025,6),(6.025,5.445)], 0.28, ends="flush", simple_path=True, layer=34, datatype=0))  # L34_0
d2s_pcell_top.add(gdstk.FlexPath([(2.265,6),(2.265,5.445)], 0.28, ends="flush", simple_path=True, layer=34, datatype=0))  # L34_0
d2s_pcell_top.add(gdstk.FlexPath([(5.545,5.305),(4.145,5.305),(4.145,4.745),(2.745,4.745)], 0.28, ends="flush", simple_path=True, layer=34, datatype=0))  # L34_0
d2s_pcell_top.add(gdstk.FlexPath([(3.725,5.305),(2.745,5.305)], 0.28, ends="flush", simple_path=True, layer=34, datatype=0))  # L34_0
d2s_pcell_top.add(gdstk.FlexPath([(5.545,4.745),(4.565,4.745)], 0.28, ends="flush", simple_path=True, layer=34, datatype=0))  # L34_0
d2s_pcell_top.add(gdstk.FlexPath([(5.545,5.305),(6.505,5.305)], 0.28, ends="flush", simple_path=True, layer=34, datatype=0))  # L34_0
d2s_pcell_top.add(gdstk.FlexPath([(5.545,4.745),(6.505,4.745)], 0.28, ends="flush", simple_path=True, layer=34, datatype=0))  # L34_0
d2s_pcell_top.add(gdstk.FlexPath([(2.745,5.305),(2.125,5.305)], 0.28, ends="flush", simple_path=True, layer=34, datatype=0))  # L34_0
d2s_pcell_top.add(gdstk.FlexPath([(2.745,4.745),(2.125,4.745)], 0.28, ends="flush", simple_path=True, layer=34, datatype=0))  # L34_0
d2s_pcell_top.add(gdstk.FlexPath([(6.025,6),(6.025,5.445)], 0.28, ends="flush", simple_path=True, layer=34, datatype=0))  # L34_0
d2s_pcell_top.add(gdstk.FlexPath([(9.305,5.305),(7.905,5.305),(7.905,4.745),(6.505,4.745)], 0.28, ends="flush", simple_path=True, layer=34, datatype=0))  # L34_0
d2s_pcell_top.add(gdstk.FlexPath([(7.485,5.305),(6.505,5.305)], 0.28, ends="flush", simple_path=True, layer=34, datatype=0))  # L34_0
d2s_pcell_top.add(gdstk.FlexPath([(9.305,4.745),(8.325,4.745)], 0.28, ends="flush", simple_path=True, layer=34, datatype=0))  # L34_0
d2s_pcell_top.add(gdstk.FlexPath([(9.925,5.305),(9.305,5.305)], 0.28, ends="flush", simple_path=True, layer=34, datatype=0))  # L34_0
d2s_pcell_top.add(gdstk.FlexPath([(9.925,4.745),(9.305,4.745)], 0.28, ends="flush", simple_path=True, layer=34, datatype=0))  # L34_0
d2s_pcell_top.add(gdstk.FlexPath([(9.785,4.605),(9.785,4.05)], 0.28, ends="flush", simple_path=True, layer=34, datatype=0))  # L34_0
d2s_pcell_top.add(gdstk.FlexPath([(6.025,4.605),(6.025,4.05)], 0.28, ends="flush", simple_path=True, layer=34, datatype=0))  # L34_0
d2s_pcell_top.add(gdstk.FlexPath([(2.265,4.605),(2.265,4.05)], 0.28, ends="flush", simple_path=True, layer=34, datatype=0))  # L34_0
d2s_pcell_top.add(gdstk.FlexPath([(6.025,4.605),(6.025,4.05)], 0.28, ends="flush", simple_path=True, layer=34, datatype=0))  # L34_0
d2s_pcell_top.add(gdstk.FlexPath([(44.65,21.355),(44.65,9.385),(17.69,9.385),(17.69,21.165),(44.46,21.165)], 0.38, ends="flush", simple_path=True, layer=22, datatype=0))  # L22_0
d2s_pcell_top.add(gdstk.FlexPath([(12.515,8.375),(12.515,1.865),(-0.465,1.865),(-0.465,8.185),(12.325,8.185)], 0.38, ends="flush", simple_path=True, layer=22, datatype=0))  # L22_0
d2s_pcell_top.add(gdstk.FlexPath([(43.48,11.235),(43.48,19.315)], 0.28, ends="flush", simple_path=True, layer=36, datatype=0))  # L36_0
d2s_pcell_top.add(gdstk.FlexPath([(37.7,9.385),(38.68,9.385)], 0.28, ends="flush", simple_path=True, layer=36, datatype=0))  # L36_0
d2s_pcell_top.add(gdstk.FlexPath([(44.04,11.235),(44.04,19.315)], 0.28, ends="flush", simple_path=True, layer=36, datatype=0))  # L36_0
d2s_pcell_top.add(gdstk.FlexPath([(37.7,21.165),(38.68,21.165)], 0.28, ends="flush", simple_path=True, layer=36, datatype=0))  # L36_0
d2s_pcell_top.add(gdstk.FlexPath([(33.02,9.385),(34,9.385)], 0.28, ends="flush", simple_path=True, layer=36, datatype=0))  # L36_0
d2s_pcell_top.add(gdstk.FlexPath([(33.02,21.165),(34,21.165)], 0.28, ends="flush", simple_path=True, layer=36, datatype=0))  # L36_0
d2s_pcell_top.add(gdstk.FlexPath([(28.34,9.385),(29.32,9.385)], 0.28, ends="flush", simple_path=True, layer=36, datatype=0))  # L36_0
d2s_pcell_top.add(gdstk.FlexPath([(28.34,21.165),(29.32,21.165)], 0.28, ends="flush", simple_path=True, layer=36, datatype=0))  # L36_0
d2s_pcell_top.add(gdstk.FlexPath([(23.66,9.385),(24.64,9.385)], 0.28, ends="flush", simple_path=True, layer=36, datatype=0))  # L36_0
d2s_pcell_top.add(gdstk.FlexPath([(23.66,21.165),(24.64,21.165)], 0.28, ends="flush", simple_path=True, layer=36, datatype=0))  # L36_0
d2s_pcell_top.add(gdstk.FlexPath([(11.905,6.73),(11.905,3.08)], 0.28, ends="flush", simple_path=True, layer=36, datatype=0))  # L36_0
d2s_pcell_top.add(gdstk.FlexPath([(0.145,6.73),(0.145,3.08)], 0.28, ends="flush", simple_path=True, layer=36, datatype=0))  # L36_0
d2s_pcell_top.add(gdstk.FlexPath([(9.305,4.745),(7.905,4.745),(7.905,5.305),(6.505,5.305)], 0.28, ends="flush", simple_path=True, layer=36, datatype=0))  # L36_0
d2s_pcell_top.add(gdstk.FlexPath([(5.545,4.745),(4.145,4.745),(4.145,5.305),(2.745,5.305)], 0.28, ends="flush", simple_path=True, layer=36, datatype=0))  # L36_0
d2s_pcell_top.add(gdstk.FlexPath([(38.19,21.025),(38.19,9.525)], 0.28, ends="flush", simple_path=True, layer=42, datatype=0))  # L42_0
d2s_pcell_top.add(gdstk.FlexPath([(37.7,9.385),(38.68,9.385)], 0.28, ends="flush", simple_path=True, layer=42, datatype=0))  # L42_0
d2s_pcell_top.add(gdstk.FlexPath([(37.7,21.165),(38.68,21.165)], 0.28, ends="flush", simple_path=True, layer=42, datatype=0))  # L42_0
d2s_pcell_top.add(gdstk.FlexPath([(33.51,21.025),(33.51,9.525)], 0.28, ends="flush", simple_path=True, layer=42, datatype=0))  # L42_0
d2s_pcell_top.add(gdstk.FlexPath([(33.02,9.385),(34,9.385)], 0.28, ends="flush", simple_path=True, layer=42, datatype=0))  # L42_0
d2s_pcell_top.add(gdstk.FlexPath([(33.02,21.165),(34,21.165)], 0.28, ends="flush", simple_path=True, layer=42, datatype=0))  # L42_0
d2s_pcell_top.add(gdstk.FlexPath([(28.83,21.025),(28.83,9.525)], 0.28, ends="flush", simple_path=True, layer=42, datatype=0))  # L42_0
d2s_pcell_top.add(gdstk.FlexPath([(28.34,9.385),(29.32,9.385)], 0.28, ends="flush", simple_path=True, layer=42, datatype=0))  # L42_0
d2s_pcell_top.add(gdstk.FlexPath([(28.34,21.165),(29.32,21.165)], 0.28, ends="flush", simple_path=True, layer=42, datatype=0))  # L42_0
d2s_pcell_top.add(gdstk.FlexPath([(24.15,21.025),(24.15,9.525)], 0.28, ends="flush", simple_path=True, layer=42, datatype=0))  # L42_0
d2s_pcell_top.add(gdstk.FlexPath([(23.66,9.385),(24.64,9.385)], 0.28, ends="flush", simple_path=True, layer=42, datatype=0))  # L42_0
d2s_pcell_top.add(gdstk.FlexPath([(23.66,21.165),(24.64,21.165)], 0.28, ends="flush", simple_path=True, layer=42, datatype=0))  # L42_0
d2s_pcell_top.add(gdstk.FlexPath([(12.515,8.545),(12.515,1.865),(-0.465,1.865),(-0.465,8.185),(12.875,8.185)], 0.72, ends="flush", simple_path=True, layer=32, datatype=0))  # L32_0
d2s_pcell_top.add(gdstk.Reference(d2s_pcell_4, (0.525,5.445)))
d2s_pcell_top.add(gdstk.Reference(d2s_pcell_4, (0.525,4.605), x_reflection=True))
d2s_pcell_top.add(gdstk.Reference(pfet, (1.295,-11.99)))
d2s_pcell_top.add(gdstk.Reference(delay_stage_pcell_4_4_1, (30.94,9.855)))
d2s_pcell_top.add(gdstk.Reference(delay_stage_pcell_4_4_1, (31.4,9.855), rotation=pi, x_reflection=True))
d2s_pcell_top.add(gdstk.Reference(delay_stage_pcell_1_4_1, (43.1,9.855), rotation=pi, x_reflection=True))
d2s_pcell_top.add(gdstk.Reference(delay_stage_pcell_1_4_1, (22.04,9.855), rotation=pi, x_reflection=True))
d2s_pcell_top.add(gdstk.Label('AVDD', (17.69,21.165), layer=34, texttype=10))
d2s_pcell_top.add(gdstk.Label('VBP', (22.89,15.275), layer=34, texttype=10))
d2s_pcell_top.add(gdstk.Label('VOP', (43.48,18.225), layer=36, texttype=10))
d2s_pcell_top.add(gdstk.Label('VON', (44.04,18.265), layer=36, texttype=10))

lib.write_gds('d2s_pcell_top.gds')
